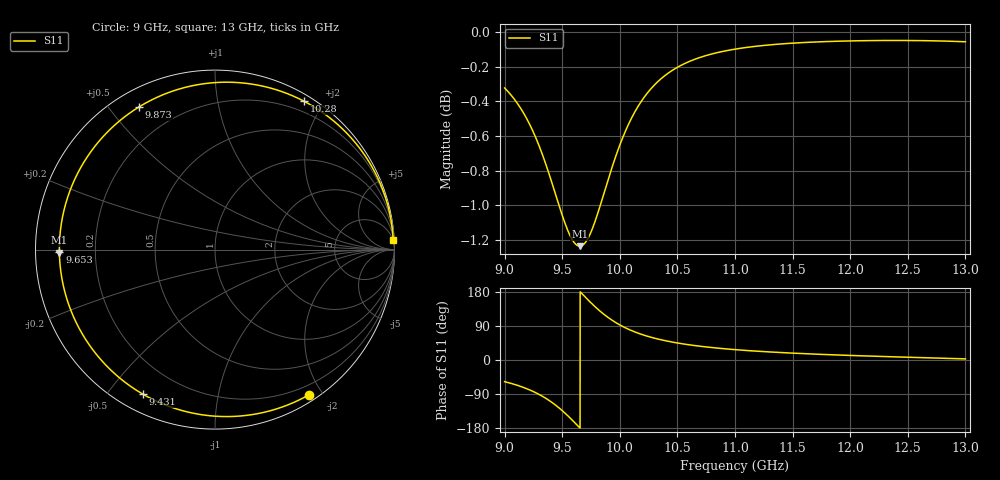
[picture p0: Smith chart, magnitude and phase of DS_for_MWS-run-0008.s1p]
! TOUCHSTONE file generated by CST DESIGN STUDIO
! Date and time: Wed Feb  5 13:38:21 2025
! Project name: C:\Work\MatlabApps\UnitCellOptimizationMatlab\CST\unitcell.cst
! Tree item: Tasks\Sweep1\SPara1\S-Parameters
! Header version: 2024
! Port assignment regex: !\s*Touchstone port\s*([0-9]+)\s*=\s*(CST MWS port|CST DES external port|CST DES block port)\s*(.+)\s* \(\"(.*)\"\)(\s*mode\s*([0-9]+))?.*
! Touchstone port assignment:
! Touchstone port 1 = CST DES external port 1 ("")
# GHz S MA R 50
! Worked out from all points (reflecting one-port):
!   4001 points, 9 GHz to 13 GHz, reference 50 ohm
!   lowest |S11| = -1.2 dB at 9.652 GHz (marker M1), VSWR 14.07, Z = 3.56 - j0.505 ohm
!   phase of S11 starts at -57 deg and turns -300 deg over the sweep
!   S11 on the Smith chart (normalised r, x): 9 GHz: 0.08, -1.83; 9.431 GHz: 0.07, -0.62; 9.653 GHz: 0.07, -0.01; 9.873 GHz: 0.07, +0.60; 10.28 GHz: 0.08, +1.77; 13 GHz: 5, +38
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9  0.9636 -57.1
9.109  0.9539 -66.6
9.218  0.9404 -79.0
9.336  0.9202 -97.1
9.385  0.9102 -106.5
9.431  0.9002 -116.4
9.5  0.8853 -133.5
9.582  0.8716 -157.0
9.618  0.8683 -168.1
9.652  0.8672 -178.8
9.653  0.8672 -179.2
9.699  0.8692 166.4
9.747  0.875 151.7
9.811  0.8869 133.5
9.873  0.9007 118.0
9.933  0.914 104.9
10  0.9276 92.6
10.067  0.9392 82.3
10.135  0.9489 73.5
10.284  0.9642 58.9
10.386  0.9712 51.5
10.5  0.9769 44.9
10.719  0.9839 35.5
11  0.9888 27.3
11.5  0.9927 18.1
12  0.9942 12.0
12.5  0.9945 7.3
13  0.9937 2.9
